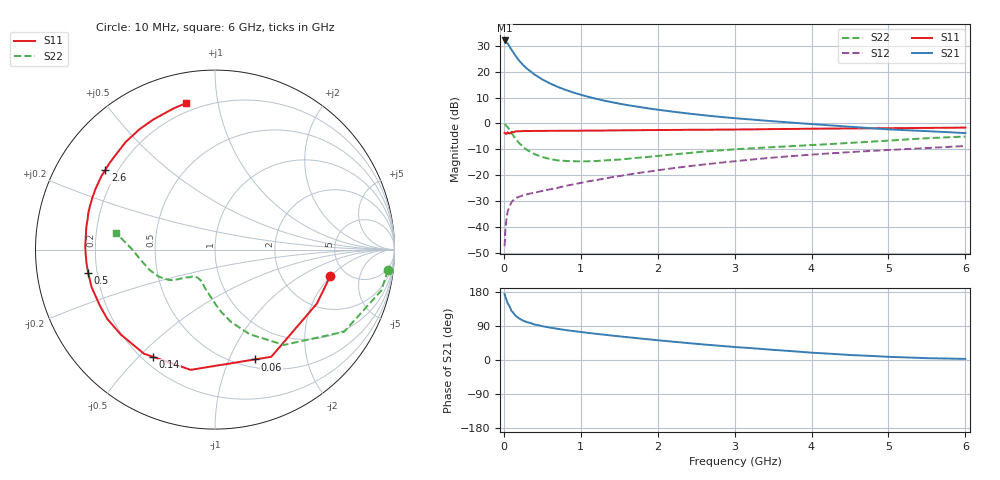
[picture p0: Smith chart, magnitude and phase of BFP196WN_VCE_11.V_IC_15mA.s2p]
! Infineon Technologies  Discrete & RF Semiconductors
! BFP196WN
! VCE =  11. V,  IC =  15 mA
! Common Emitter S-Parameters:  Jan 2017
# GHz  S  MA  R  50
!  f  S11  S21  S12  S22
! GHz  MAG  ANG  MAG  ANG  MAG  ANG  MAG  ANG
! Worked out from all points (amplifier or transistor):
!   77 points, 10 MHz to 6 GHz, reference 50 ohm
!   highest |S21| = 32.2 dB at 10 MHz (marker M1)
!   |S21| within 3 dB of that: start of sweep to 86.27 MHz
!   unconditionally stable (mu >= 1): 1.019 GHz to 2.689 GHz
!   at 130 MHz: K = 0.25, MSG = 28.4 dB, |S12| = -29.5 dB
!   at 2.2 GHz: K = 1.04, MAG = 9.7 dB, |S12| = -17.3 dB
!   at 6 GHz: K = 0.86, MSG = 2.5 dB, |S12| = -8.7 dB
!   S11 on the Smith chart (normalised r, x): 10 MHz: 3.77, -1.97; 60 MHz: 0.59, -1.25; 140 MHz: 0.24, -0.55; 500 MHz: 0.17, -0.09; 2.6 GHz: 0.15, +0.32; 6 GHz: 0.15, +0.81
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0.01  0.6588 -13.0  40.52 174.1  0.0042 81.7  0.971 -6.8
0.02  0.6425 -27.9  38.71 166.8  0.0088 76.5  0.9537 -13.9
0.05  0.6746 -62.3  35.3 149.4  0.0197 62.1  0.8526 -32.5
0.06  0.6514 -69.9  33.31 146.3  0.0217 58.7  0.8053 -35.9
0.1  0.6836 -101.5  26.71 129.4  0.03 49.6  0.6552 -54.2
0.14  0.6898 -119.9  21.77 120.3  0.0346 43.0  0.5353 -64.5
0.15  0.7021 -124.3  20.65 117.4  0.0358 41.6  0.5088 -67.8
0.2  0.7067 -137.9  16.42 109.5  0.0381 38.1  0.4148 -77.3
0.25  0.7138 -147.2  13.57 104.0  0.0405 37.7  0.3535 -83.8
0.3  0.7135 -154.1  11.53 99.9  0.0425 37.2  0.3066 -89.2
0.4  0.7187 -163.1  8.828 93.7  0.0457 39.4  0.2542 -97.1
0.5  0.7184 -169.6  7.119 89.2  0.0494 42.2  0.2235 -104.0
0.7  0.7208 -177.8  5.113 82.3  0.0567 47.6  0.1926 -112.8
0.9  0.7227 175.6  3.986 76.4  0.0659 51.1  0.1858 -119.0
1.1  0.727 170.8  3.275 71.5  0.0757 54.7  0.1852 -123.6
1.5  0.7358 162.7  2.418 62.5  0.0956 58.5  0.1995 -130.9
2.1  0.7473 151.9  1.768 50.3  0.1299 60.3  0.2429 -138.7
2.6  0.7552 143.9  1.443 40.9  0.1605 59.6  0.2858 -144.2
3.1  0.765 136.0  1.231 32.9  0.1918 57.6  0.3222 -149.7
4.1  0.7927 120.8  0.951 18.2  0.2552 51.4  0.3887 -164.9
5.1  0.8118 109.3  0.756 7.7  0.3115 44.1  0.4756 178.1
6  0.8317 101.1  0.651 2.9  0.3665 37.7  0.5586 170.5
